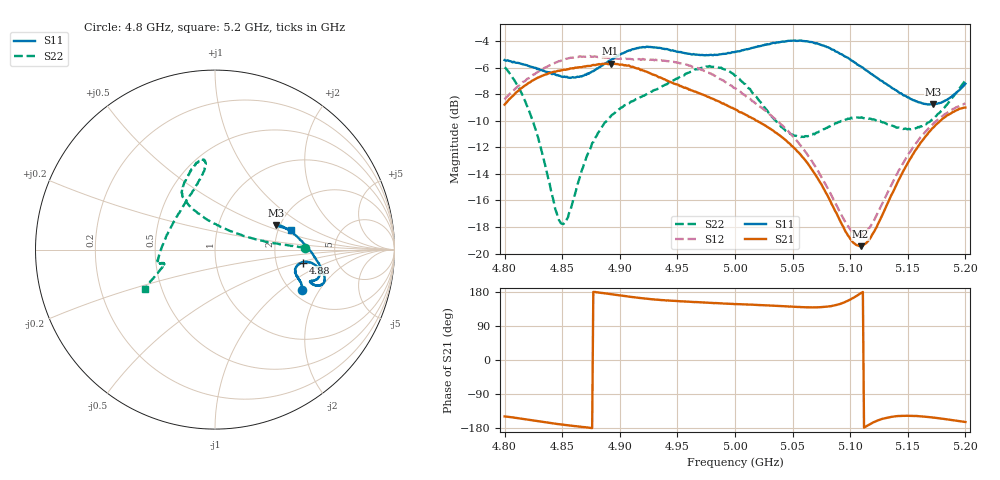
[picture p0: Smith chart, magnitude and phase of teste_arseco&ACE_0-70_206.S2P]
! Network Analyzer HP8722D
! Hewlett-Packard
! Data name: Linha & Wilkinson
! Saver's name: Rodrigo Anjos
! Comments: Teste da utilização de aquisição
! continua pelo VNA HP8722D
! Time and date: 8/5/2025 14:28
!  Frequency  S11  S21  S12  S22
# HZ  S  MA R 50
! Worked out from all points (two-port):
!   401 points, 4.8 GHz to 5.2 GHz, reference 50 ohm
!   highest |S21| = -5.68 dB at 4.892 GHz (marker M1); lowest = -19.4 dB at 5.109 GHz (marker M2)
!   |S21| within 3 dB of the highest: 4.801 GHz to 4.989 GHz (187.9 MHz wide, 3.84 % of centre)
!   lowest |S11| = -8.8 dB at 5.172 GHz (marker M3), VSWR 2.15, Z = 94.8 + j30 ohm
!   |S11| at or under -10 dB: nowhere
!   |S22| runs from -17.8 to -5.9 dB; largest |S21 - S12| = 1.1
!   S11 on the Smith chart (normalised r, x): 4.8 GHz: 2.25, -1.44; 4.88 GHz: 2.86, -0.55; 5.2 GHz: 2.34, +0.64
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4.8e9  0.5357 -25.2  0.3641 -149.0  0.3808 10.3  0.5028 1.3
4.812e9  0.5224 -22.3  0.411 -153.8  0.4282 8.8  0.4238 2.7
4.823e9  0.5058 -20.4  0.4451 -158.8  0.4636 7.3  0.3288 6.2
4.845e9  0.4703 -16.8  0.4857 -168.5  0.5256 3.8  0.1431 41.9
4.849e9  0.4649 -16.2  0.4905 -170.1  0.5333 3.0  0.1299 59.1
4.855e9  0.4601 -14.3  0.495 -172.4  0.5435 2.1  0.1369 85.1
4.867e9  0.465 -10.9  0.5038 -176.7  0.5515 0.5  0.206 112.1
4.88e9  0.4978 -8.4  0.5152 178.6  0.5518 -0.7  0.2783 120.0
4.892e9  0.5361 -7.7  0.5198 174.0  0.5428 -1.0  0.3284 121.4
4.913e9  0.5912 -11.0  0.5014 165.4  0.5402 -0.5  0.3786 119.0
4.934e9  0.5956 -15.4  0.4609 158.6  0.5374 -1.3  0.4189 112.9
4.976e9  0.5588 -18.5  0.3895 151.2  0.4809 -5.2  0.5059 99.0
5e9  0.5752 -19.3  0.35 147.3  0.4205 -5.2  0.4676 96.8
5.044e9  0.6303 -17.5  0.2676 141.6  0.2951 3.0  0.2899 131.3
5.067e9  0.6262 -13.5  0.207 138.8  0.2224 9.4  0.2812 164.4
5.098e9  0.5466 -2.7  0.1171 156.2  0.1271 37.3  0.3224 -170.5
5.109e9  0.5078 2.4  0.1066 175.8  0.1171 58.9  0.3253 -167.4
5.119e9  0.4734 7.3  0.1176 -166.1  0.1297 78.1  0.3203 -166.2
5.134e9  0.4282 14.7  0.1598 -151.0  0.1749 94.7  0.305 -165.8
5.154e9  0.38 21.2  0.2349 -147.6  0.2494 101.5  0.2955 -164.2
5.172e9  0.3647 22.1  0.298 -151.9  0.3086 102.5  0.3217 -160.0
5.2e9  0.4364 14.8  0.3549 -163.6  0.3684 102.9  0.4487 -150.6
